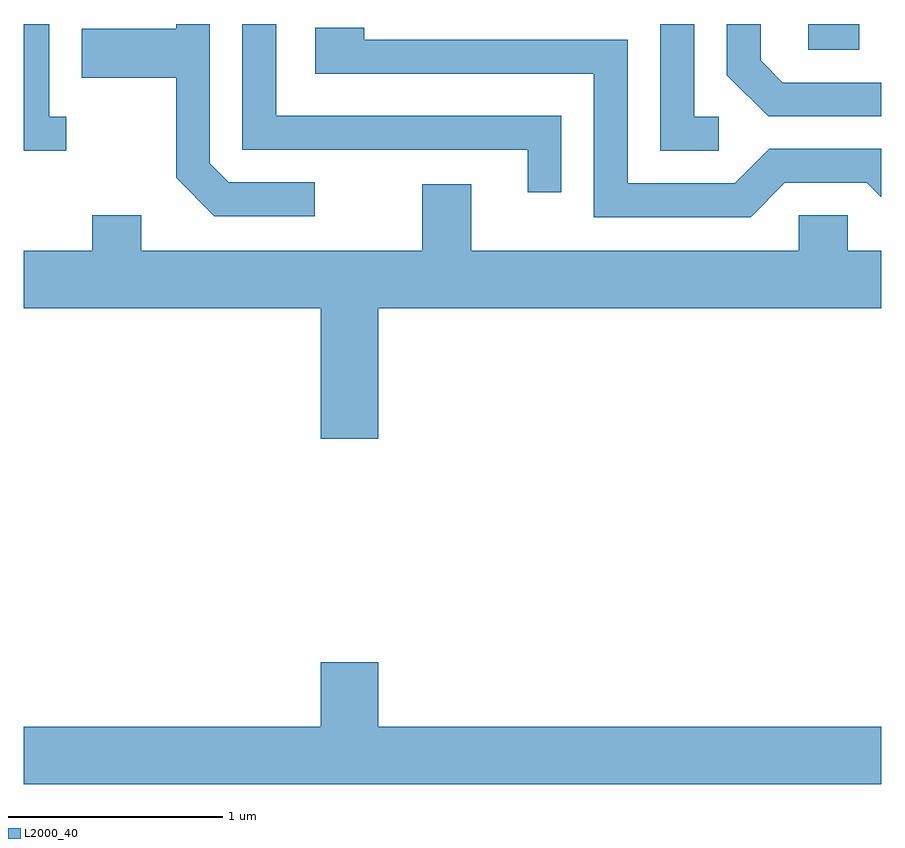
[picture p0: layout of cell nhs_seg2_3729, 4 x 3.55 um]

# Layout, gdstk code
import gdstk
lib = gdstk.Library(unit=1e-6, precision=1e-09)
def R(c, l, rs):  # rectangles x0, y0, x1, y1
    for r in rs: c.add(gdstk.rectangle(r[:2], r[2:], *l))
def P(c, l, *ps):  # polygons
    for p in ps: c.add(gdstk.Polygon(p, *l))
L2000_40 = (2000, 40)

nhs_seg2_3729 = lib.new_cell('nhs_seg2_3729')
R(nhs_seg2_3729, L2000_40, [(297.271,1111.681,297.509,1111.802)])
P(nhs_seg2_3729, L2000_40, [(293.808,1111.369),(293.729,1111.369),(293.729,1111.802),(293.611,1111.802),(293.611,1111.211),(293.808,1111.211)],
  [(296.119,1111.374),(294.789,1111.374),(294.789,1111.802),(294.631,1111.802),(294.631,1111.216),(295.961,1111.216),(295.961,1111.018),(296.119,1111.018)],
  [(296.853,1111.369),(296.739,1111.369),(296.739,1111.802),(296.581,1111.802),(296.581,1111.211),(296.853,1111.211)],
  [(294.968,1111.064),(294.567,1111.064),(294.479,1111.152),(294.479,1111.802),(294.321,1111.802),(294.321,1111.779),(293.881,1111.779),(293.881,1111.551),(294.321,1111.551),(294.321,1111.084),(294.499,1110.906),(294.968,1110.906)],
  [(297.611,1111.529),(297.152,1111.529),(297.049,1111.632),(297.049,1111.802),(296.891,1111.802),(296.891,1111.564),(297.084,1111.371),(297.611,1111.371)],
  [(297.162,1111.061),(297.544,1111.061),(297.611,1110.994),(297.611,1111.219),(297.089,1111.219),(296.929,1111.059),(296.429,1111.059),(296.429,1111.729),(295.199,1111.729),(295.199,1111.784),(294.971,1111.784),(294.971,1111.571),(296.271,1111.571),(296.271,1110.901),(297.002,1110.901)],
  [(295.264,1110.476),(297.611,1110.476),(297.611,1110.744),(297.454,1110.744),(297.454,1110.909),(297.226,1110.909),(297.226,1110.744),(295.699,1110.744),(295.699,1111.054),(295.471,1111.054),(295.471,1110.744),(294.159,1110.744),(294.159,1110.909),(293.931,1110.909),(293.931,1110.744),(293.611,1110.744),(293.611,1110.476),(294.996,1110.476),(294.996,1109.866),(295.264,1109.866)],
  [(297.611,1108.524),(295.264,1108.524),(295.264,1108.824),(294.996,1108.824),(294.996,1108.524),(293.611,1108.524),(293.611,1108.256),(297.611,1108.256)])

lib.write_gds('nhs_seg2_3729.gds')
